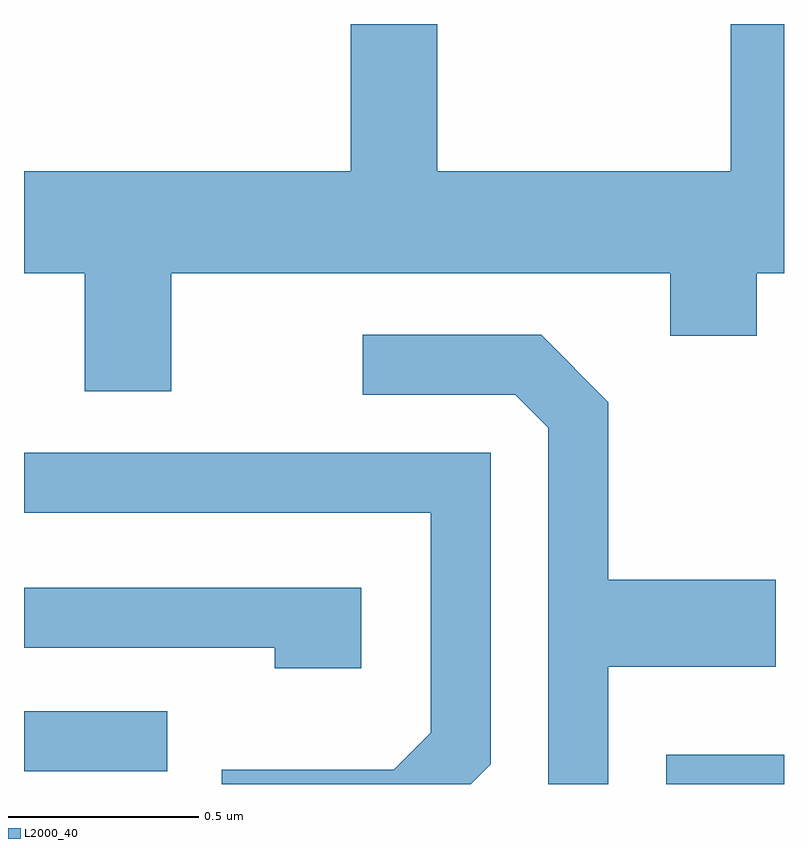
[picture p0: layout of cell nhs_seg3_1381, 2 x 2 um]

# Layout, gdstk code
import gdstk
lib = gdstk.Library(unit=1e-6, precision=1e-09)
def R(c, l, rs):  # rectangles x0, y0, x1, y1
    for r in rs: c.add(gdstk.rectangle(r[:2], r[2:], *l))
def P(c, l, *ps):  # polygons
    for p in ps: c.add(gdstk.Polygon(p, *l))
L2000_40 = (2000, 40)

nhs_seg3_1381 = lib.new_cell('nhs_seg3_1381')
R(nhs_seg3_1381, L2000_40, [(197.301,1126.892,197.611,1126.969), (195.611,1126.926,195.988,1127.084)])
P(nhs_seg3_1381, L2000_40, [(195.999,1128.236),(197.311,1128.236),(197.311,1128.071),(197.539,1128.071),(197.539,1128.236),(197.611,1128.236),(197.611,1128.892),(197.471,1128.892),(197.471,1128.504),(196.699,1128.504),(196.699,1128.892),(196.471,1128.892),(196.471,1128.504),(195.611,1128.504),(195.611,1128.236),(195.771,1128.236),(195.771,1127.926),(195.999,1127.926)],
  [(197.149,1127.201),(197.589,1127.201),(197.589,1127.429),(197.149,1127.429),(197.149,1127.897),(196.972,1128.074),(196.503,1128.074),(196.503,1127.916),(196.904,1127.916),(196.991,1127.829),(196.991,1126.892),(197.149,1126.892)],
  [(196.839,1126.944),(196.839,1127.764),(195.611,1127.764),(195.611,1127.606),(196.681,1127.606),(196.681,1127.027),(196.584,1126.929),(196.131,1126.929),(196.131,1126.892),(196.787,1126.892)],
  [(196.499,1127.409),(195.611,1127.409),(195.611,1127.251),(196.271,1127.251),(196.271,1127.196),(196.499,1127.196)])

lib.write_gds('nhs_seg3_1381.gds')
